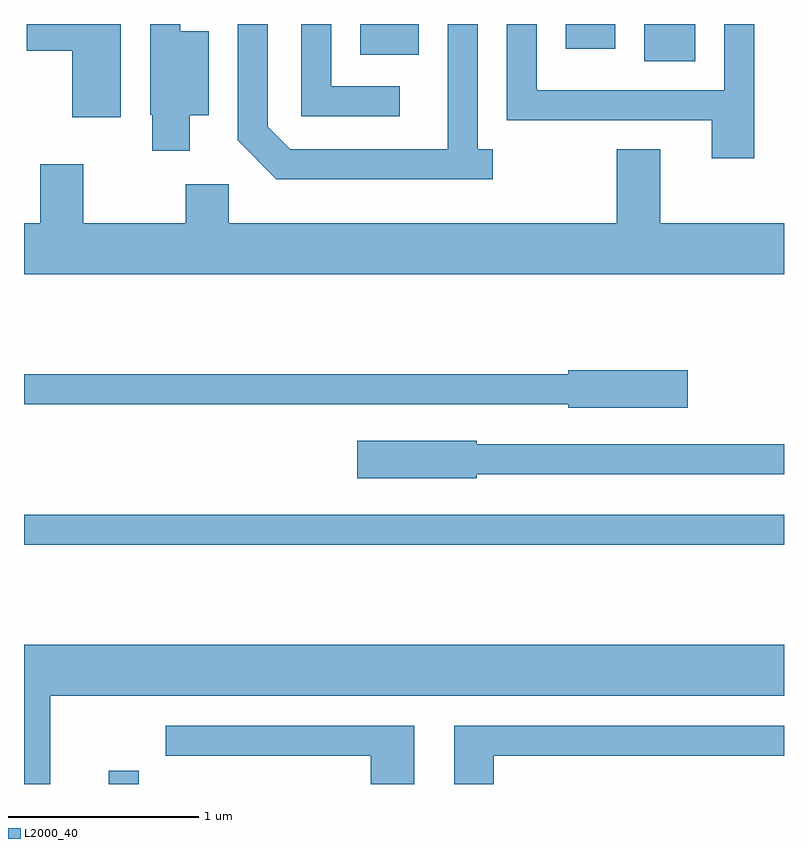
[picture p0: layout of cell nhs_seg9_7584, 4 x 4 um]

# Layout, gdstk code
import gdstk
lib = gdstk.Library(unit=1e-6, precision=1e-09)
def R(c, l, rs):  # rectangles x0, y0, x1, y1
    for r in rs: c.add(gdstk.rectangle(r[:2], r[2:], *l))
def P(c, l, *ps):  # polygons
    for p in ps: c.add(gdstk.Polygon(p, *l))
L2000_40 = (2000, 40)

nhs_seg9_7584 = lib.new_cell('nhs_seg9_7584')
R(nhs_seg9_7584, L2000_40, [(410.056,2022.432,410.214,2022.503), (409.611,2023.691,413.611,2023.849), (412.876,2026.236,413.144,2026.432), (411.381,2026.271,411.689,2026.432), (412.461,2026.301,412.724,2026.432)])
P(nhs_seg9_7584, L2000_40, [(410.119,2026.432),(409.626,2026.432),(409.626,2026.291),(409.866,2026.291),(409.866,2025.941),(410.119,2025.941)],
  [(412.078,2025.774),(411.999,2025.774),(411.999,2026.432),(411.841,2026.432),(411.841,2025.774),(411.012,2025.774),(410.894,2025.892),(410.894,2026.432),(410.736,2026.432),(410.736,2025.819),(410.939,2025.616),(412.078,2025.616)],
  [(410.484,2025.951),(410.584,2025.951),(410.584,2026.394),(410.434,2026.394),(410.434,2026.432),(410.276,2026.432),(410.276,2025.955),(410.286,2025.955),(410.286,2025.766),(410.484,2025.766)],
  [(413.454,2026.432),(413.296,2026.432),(413.296,2026.084),(412.309,2026.084),(412.309,2026.432),(412.151,2026.432),(412.151,2025.926),(413.231,2025.926),(413.231,2025.726),(413.454,2025.726)],
  [(411.588,2026.104),(411.229,2026.104),(411.229,2026.432),(411.071,2026.432),(411.071,2025.946),(411.588,2025.946)],
  [(413.611,2025.384),(412.959,2025.384),(412.959,2025.774),(412.731,2025.774),(412.731,2025.384),(410.689,2025.384),(410.689,2025.589),(410.461,2025.589),(410.461,2025.384),(409.924,2025.384),(409.924,2025.694),(409.696,2025.694),(409.696,2025.384),(409.611,2025.384),(409.611,2025.116),(413.611,2025.116)],
  [(413.104,2024.609),(412.476,2024.609),(412.476,2024.589),(409.611,2024.589),(409.611,2024.431),(412.476,2024.431),(412.476,2024.411),(413.104,2024.411)],
  [(411.994,2024.061),(413.611,2024.061),(413.611,2024.219),(411.994,2024.219),(411.994,2024.239),(411.366,2024.239),(411.366,2024.041),(411.994,2024.041)],
  [(409.749,2022.896),(413.611,2022.896),(413.611,2023.164),(409.611,2023.164),(409.611,2022.432),(409.749,2022.432)],
  [(412.084,2022.581),(413.611,2022.581),(413.611,2022.739),(411.876,2022.739),(411.876,2022.432),(412.084,2022.432)],
  [(411.664,2022.739),(410.358,2022.739),(410.358,2022.581),(411.436,2022.581),(411.436,2022.432),(411.664,2022.432)])

lib.write_gds('nhs_seg9_7584.gds')
